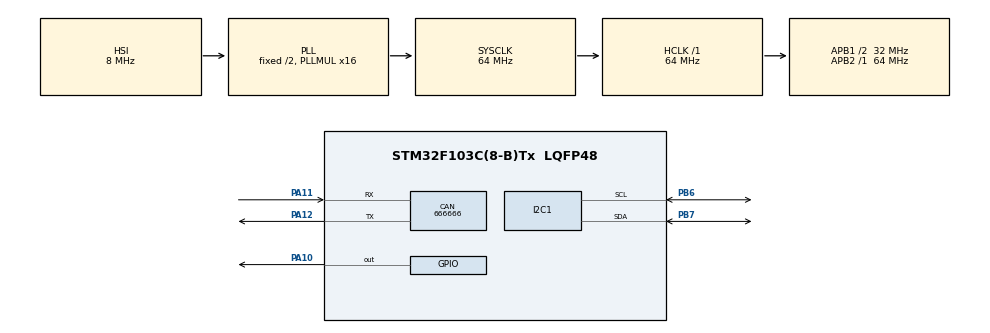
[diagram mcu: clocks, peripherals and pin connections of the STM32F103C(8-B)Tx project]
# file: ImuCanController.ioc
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CAN.CalculateBaudRate=666666
CAN.CalculateTimeBit=1500
CAN.CalculateTimeQuantum=500.0
Mcu.Family=STM32F1
Mcu.Name=STM32F103C(8-B)Tx
Mcu.Package=LQFP48
NVIC.PriorityGroup=NVIC_PRIORITYGROUP_4
NVIC.RCC_IRQn=true\:0\:0\:false\:false\:true\:true\:false\:true
NVIC.TIM2_IRQn=true\:0\:0\:false\:false\:true\:true\:true\:true
PA10.PinState=GPIO_PIN_RESET
PA10.Signal=GPIO_Output
PA11.Mode=CAN_Activate
PA11.Signal=CAN_RX
PA12.Mode=CAN_Activate
PA12.Signal=CAN_TX
PA13.Mode=Serial_Wire
PA13.Signal=SYS_JTMS-SWDIO
PA14.Mode=Serial_Wire
PA14.Signal=SYS_JTCK-SWCLK
PA15.Signal=SYS_JTDI
PB3.Signal=SYS_JTDO-TRACESWO
PB4.Signal=SYS_NJTRST
PB6.Mode=I2C
PB6.Signal=I2C1_SCL
PB7.Mode=I2C
PB7.Signal=I2C1_SDA
PC14-OSC32_IN.Signal=RCC_OSC32_IN
PC15-OSC32_OUT.Signal=RCC_OSC32_OUT
ProjectManager.HeapSize=0x200
ProjectManager.StackSize=0x400
ProjectManager.TargetToolchain=STM32CubeIDE
RCC.AHBFreq_Value=64000000
RCC.APB1CLKDivider=RCC_HCLK_DIV2
RCC.APB1Freq_Value=32000000
RCC.APB1TimFreq_Value=64000000
RCC.APB2Freq_Value=64000000
RCC.APB2TimFreq_Value=64000000
RCC.HCLKFreq_Value=64000000
RCC.PLLMUL=RCC_PLL_MUL16
RCC.SYSCLKFreq_VALUE=64000000
RCC.SYSCLKSource=RCC_SYSCLKSOURCE_PLLCLK
RCC.USBFreq_Value=64000000
TIM2.AutoReloadPreload=TIM_AUTORELOAD_PRELOAD_ENABLE
TIM2.Channel-Output\ Compare1\ No\ Output=TIM_CHANNEL_1
TIM2.Period=63999
TIM2.Prescaler=9
TIM2.Pulse-Output\ Compare1\ No\ Output=0
VP_TIM2_VS_ClockSourceINT.Mode=Internal
VP_TIM2_VS_no_output1.Mode=Output Compare1 No Output
board=custom

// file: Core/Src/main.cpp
/* USER CODE BEGIN Header */
/**
 ******************************************************************************
 * @file           : main.cpp
 * @brief          : Main program body
 ******************************************************************************
 * @attention
 *
 * Copyright (c) 2022 STMicroelectronics.
 * All rights reserved.
 *
 * This software is licensed under terms that can be found in the LICENSE file
 * in the root directory of this software component.
 * If no LICENSE file comes with this software, it is provided AS-IS.
 *
 ******************************************************************************
 */
/* USER CODE END Header */
#include "main.h"

/* USER CODE BEGIN Includes */
#include <stdlib.h>
#include "Lsm9ds1.h"

// - In timer interrupt callback acquire data
// - After finishing acquisition transfer data via CAN

/* USER CODE END Includes */

/* USER CODE BEGIN PD */
#define N_VAL_ACC_X 20
#define N_VAL_ACC_Y 20
#define N_VAL_ACC_Z 20
#define N_VAL_GYR_X 20
#define N_VAL_GYR_Y 20
#define N_VAL_GYR_Z 20

#define N_VAL_BUF_IN_ACC_X 20
#define N_VAL_BUF_IN_ACC_Y 20
#define N_VAL_BUF_IN_ACC_Z 20
#define N_VAL_BUF_IN_GYR_X 20
#define N_VAL_BUF_IN_GYR_Y 20
#define N_VAL_BUF_IN_GYR_Z 20

#define N_VAL_BUF_OUT_ACC_X 20
#define N_VAL_BUF_OUT_ACC_Y 20
#define N_VAL_BUF_OUT_ACC_Z 20
#define N_VAL_BUF_OUT_GYR_X 20
#define N_VAL_BUF_OUT_GYR_Y 20
#define N_VAL_BUF_OUT_GYR_Z 20
/* USER CODE END PD */

CAN_HandleTypeDef hcan;

I2C_HandleTypeDef hi2c1;

TIM_HandleTypeDef htim2;

/* USER CODE BEGIN PV */
Lsm9ds1 Imu;
int16_t *accX; ///< Buffer for acceleration in x-direction
int16_t *accY; ///< Buffer for acceleration in y-direction
int16_t *accZ; ///< Buffer for acceleration in z-direction
int16_t *gyrX; ///< Buffer for angular velocity around x-axis
int16_t *gyrY; ///< Buffer for angular velocity around y-axis
int16_t *gyrZ; ///< Buffer for angular velocity around z-axis

float sensAcc = 0.0; ///< Sensitivity of the accelerometer
float sensGyr = 0.0; ///< Sensitivity of the gyroscope

float *kernelAccXIn;  ///< Elements of the input kernel of the accelerometer in x-direction
float *kernelAccYIn;  ///< Elements of the input kernel of the accelerometer in y-direction
float *kernelAccZIn;  ///< Elements of the input kernel of the accelerometer in z-direction
float *kernelGyrXIn;  ///< Elements of the input kernel of the gyroscope around the x-axis
float *kernelGyrYIn;  ///< Elements of the input kernel of the gyroscope around the y-axis
float *kernelGyrZIn;  ///< Elements of the input kernel of the gyroscope around the z-axis
float *kernelAccXOut; ///< Elements of the output kernel of the accelerometer in x-direction
float *kernelAccYOut; ///< Elements of the output kernel of the accelerometer in y-direction
float *kernelAccZOut; ///< Elements of the output kernel of the accelerometer in z-direction
float *kernelGyrXOut; ///< Elements of the output kernel of the gyroscope around the x-axis
float *kernelGyrYOut; ///< Elements of the output kernel of the gyroscope around the y-axis
float *kernelGyrZOut; ///< Elements of the output kernel of the gyroscope around the z-axis

/* USER CODE END PV */

void SystemClock_Config(void);
static void MX_GPIO_Init(void);
static void MX_CAN_Init(void);
static void MX_TIM2_Init(void);
static void MX_I2C1_Init(void);
/* USER CODE BEGIN PFP */
void initVars(void);
void initImu(void);
/* USER CODE END PFP */

/* USER CODE BEGIN 0 */

void HAL_TIM_PeriodElapsedCallback(TIM_HandleTypeDef *htim)
{
	//HAL_GPIO_TogglePin(SPI1_CS_IMU_GPIO_Port, SPI1_CS_IMU_Pin);

	/*
	if(TIM2 == htim->Instance) {
		if(HAL_TIM_ACTIVE_CHANNEL_2 == htim->Channel) {
			//
		}
	}
	 */
}
/* USER CODE END 0 */

int main(void)
{

	/* MCU Configuration--------------------------------------------------------*/

	/* Reset of all peripherals, Initializes the Flash interface and the Systick. */
	HAL_Init();

	/* Configure the system clock */
	SystemClock_Config();

	/* Initialize all configured peripherals */
	MX_GPIO_Init();
	MX_CAN_Init();
	MX_TIM2_Init();
	MX_I2C1_Init();
	/* USER CODE BEGIN 2 */
	Imu.init(&hi2c1, 0xD4, 0x38);
	HAL_TIM_Base_Start_IT(&htim2);

	uint8_t value = Imu.whoAmI();
	if(104 == value) {
		HAL_GPIO_WritePin(GPIOA, GPIO_PIN_10, GPIO_PIN_SET);
	}

	initVars();
	initImu();
	/* USER CODE END 2 */

	/* Infinite loop */
	while (1)
	{

		/* USER CODE BEGIN 3 */
		//HAL_GPIO_TogglePin(SPI1_CS_IMU_GPIO_Port, SPI1_CS_IMU_Pin);
		//HAL_Delay(500);
	}
	/* USER CODE END 3 */
}

void SystemClock_Config(void)
{
	RCC_OscInitTypeDef RCC_OscInitStruct = {0};
	RCC_ClkInitTypeDef RCC_ClkInitStruct = {0};

	/** Initializes the RCC Oscillators according to the specified parameters
	 * in the RCC_OscInitTypeDef structure.
	 */
	RCC_OscInitStruct.OscillatorType = RCC_OSCILLATORTYPE_HSI;
	RCC_OscInitStruct.HSIState = RCC_HSI_ON;
	RCC_OscInitStruct.HSICalibrationValue = RCC_HSICALIBRATION_DEFAULT;
	RCC_OscInitStruct.PLL.PLLState = RCC_PLL_ON;
	RCC_OscInitStruct.PLL.PLLSource = RCC_PLLSOURCE_HSI_DIV2;
	RCC_OscInitStruct.PLL.PLLMUL = RCC_PLL_MUL16;
	if (HAL_RCC_OscConfig(&RCC_OscInitStruct) != HAL_OK)
	{
		Error_Handler();
	}

	/** Initializes the CPU, AHB and APB buses clocks
	 */
	RCC_ClkInitStruct.ClockType = RCC_CLOCKTYPE_HCLK|RCC_CLOCKTYPE_SYSCLK
			|RCC_CLOCKTYPE_PCLK1|RCC_CLOCKTYPE_PCLK2;
	RCC_ClkInitStruct.SYSCLKSource = RCC_SYSCLKSOURCE_PLLCLK;
	RCC_ClkInitStruct.AHBCLKDivider = RCC_SYSCLK_DIV1;
	RCC_ClkInitStruct.APB1CLKDivider = RCC_HCLK_DIV2;
	RCC_ClkInitStruct.APB2CLKDivider = RCC_HCLK_DIV1;

	if (HAL_RCC_ClockConfig(&RCC_ClkInitStruct, FLASH_LATENCY_2) != HAL_OK)
	{
		Error_Handler();
	}
}

static void MX_CAN_Init(void)
{

	hcan.Instance = CAN1;
	hcan.Init.Prescaler = 16;
	hcan.Init.Mode = CAN_MODE_NORMAL;
	hcan.Init.SyncJumpWidth = CAN_SJW_1TQ;
	hcan.Init.TimeSeg1 = CAN_BS1_1TQ;
	hcan.Init.TimeSeg2 = CAN_BS2_2TQ;
	hcan.Init.TimeTriggeredMode = DISABLE;
	hcan.Init.AutoBusOff = DISABLE;
	hcan.Init.AutoWakeUp = DISABLE;
	hcan.Init.AutoRetransmission = DISABLE;
	hcan.Init.ReceiveFifoLocked = DISABLE;
	hcan.Init.TransmitFifoPriority = DISABLE;
	if (HAL_CAN_Init(&hcan) != HAL_OK)
	{
		Error_Handler();
	}

}

static void MX_I2C1_Init(void)
{

	hi2c1.Instance = I2C1;
	hi2c1.Init.ClockSpeed = 100000;
	hi2c1.Init.DutyCycle = I2C_DUTYCYCLE_2;
	hi2c1.Init.OwnAddress1 = 0;
	hi2c1.Init.AddressingMode = I2C_ADDRESSINGMODE_7BIT;
	hi2c1.Init.DualAddressMode = I2C_DUALADDRESS_DISABLE;
	hi2c1.Init.OwnAddress2 = 0;
	hi2c1.Init.GeneralCallMode = I2C_GENERALCALL_DISABLE;
	hi2c1.Init.NoStretchMode = I2C_NOSTRETCH_DISABLE;
	if (HAL_I2C_Init(&hi2c1) != HAL_OK)
	{
		Error_Handler();
	}

}

static void MX_TIM2_Init(void)
{

	TIM_ClockConfigTypeDef sClockSourceConfig = {0};
	TIM_MasterConfigTypeDef sMasterConfig = {0};
	TIM_OC_InitTypeDef sConfigOC = {0};

	htim2.Instance = TIM2;
	htim2.Init.Prescaler = 9;
	htim2.Init.CounterMode = TIM_COUNTERMODE_UP;
	htim2.Init.Period = 63999;
	htim2.Init.ClockDivision = TIM_CLOCKDIVISION_DIV1;
	htim2.Init.AutoReloadPreload = TIM_AUTORELOAD_PRELOAD_ENABLE;
	if (HAL_TIM_Base_Init(&htim2) != HAL_OK)
	{
		Error_Handler();
	}
	sClockSourceConfig.ClockSource = TIM_CLOCKSOURCE_INTERNAL;
	if (HAL_TIM_ConfigClockSource(&htim2, &sClockSourceConfig) != HAL_OK)
	{
		Error_Handler();
	}
	if (HAL_TIM_OC_Init(&htim2) != HAL_OK)
	{
		Error_Handler();
	}
	sMasterConfig.MasterOutputTrigger = TIM_TRGO_RESET;
	sMasterConfig.MasterSlaveMode = TIM_MASTERSLAVEMODE_DISABLE;
	if (HAL_TIMEx_MasterConfigSynchronization(&htim2, &sMasterConfig) != HAL_OK)
	{
		Error_Handler();
	}
	sConfigOC.OCMode = TIM_OCMODE_TIMING;
	sConfigOC.Pulse = 0;
	sConfigOC.OCPolarity = TIM_OCPOLARITY_HIGH;
	sConfigOC.OCFastMode = TIM_OCFAST_DISABLE;
	if (HAL_TIM_OC_ConfigChannel(&htim2, &sConfigOC, TIM_CHANNEL_1) != HAL_OK)
	{
		Error_Handler();
	}

}

static void MX_GPIO_Init(void)
{
	GPIO_InitTypeDef GPIO_InitStruct = {0};

	/* GPIO Ports Clock Enable */
	__HAL_RCC_GPIOC_CLK_ENABLE();
	__HAL_RCC_GPIOA_CLK_ENABLE();
	__HAL_RCC_GPIOB_CLK_ENABLE();

	/*Configure GPIO pin Output Level */
	HAL_GPIO_WritePin(GPIOA, GPIO_PIN_10, GPIO_PIN_RESET);

	/*Configure GPIO pins : SPI1_CS_IMU_Pin PA10 */
	GPIO_InitStruct.Pin = GPIO_PIN_10;
	GPIO_InitStruct.Mode = GPIO_MODE_OUTPUT_PP;
	GPIO_InitStruct.Pull = GPIO_NOPULL;
	GPIO_InitStruct.Speed = GPIO_SPEED_FREQ_LOW;
	HAL_GPIO_Init(GPIOA, &GPIO_InitStruct);

}

/* USER CODE BEGIN 4 */

/**
 * @brief Allocate memory for arrays and populate with values
 */
void initVars(void)
{
	accX = (int16_t*) calloc(N_VAL_ACC_X, sizeof(int16_t));
	accY = (int16_t*) calloc(N_VAL_ACC_Y, sizeof(int16_t));
	accZ = (int16_t*) calloc(N_VAL_ACC_Z, sizeof(int16_t));

	gyrX = (int16_t*) calloc(N_VAL_GYR_X, sizeof(int16_t));
	gyrY = (int16_t*) calloc(N_VAL_GYR_Y, sizeof(int16_t));
	gyrZ = (int16_t*) calloc(N_VAL_GYR_Z, sizeof(int16_t));

	kernelAccXIn = (float*) calloc(N_VAL_BUF_IN_ACC_X, sizeof(float));
	kernelAccYIn = (float*) calloc(N_VAL_BUF_IN_ACC_Y, sizeof(float));
	kernelAccZIn = (float*) calloc(N_VAL_BUF_IN_ACC_Z, sizeof(float));
	kernelGyrXIn = (float*) calloc(N_VAL_BUF_IN_GYR_X, sizeof(float));
	kernelGyrYIn = (float*) calloc(N_VAL_BUF_IN_GYR_Y, sizeof(float));
	kernelGyrZIn = (float*) calloc(N_VAL_BUF_IN_GYR_Z, sizeof(float));

	kernelAccXOut = (float*) calloc(N_VAL_BUF_OUT_ACC_X, sizeof(float));
	kernelAccYOut = (float*) calloc(N_VAL_BUF_OUT_ACC_Y, sizeof(float));
	kernelAccZOut = (float*) calloc(N_VAL_BUF_OUT_ACC_Z, sizeof(float));
	kernelGyrXOut = (float*) calloc(N_VAL_BUF_OUT_GYR_X, sizeof(float));
	kernelGyrYOut = (float*) calloc(N_VAL_BUF_OUT_GYR_Y, sizeof(float));
	kernelGyrZOut = (float*) calloc(N_VAL_BUF_OUT_GYR_Z, sizeof(float));
}

/**
 * @brief
 */
void initImu(void)
{
	//
}
/* USER CODE END 4 */

void Error_Handler(void)
{
	__disable_irq();
	while (1)
	{
	}
}
